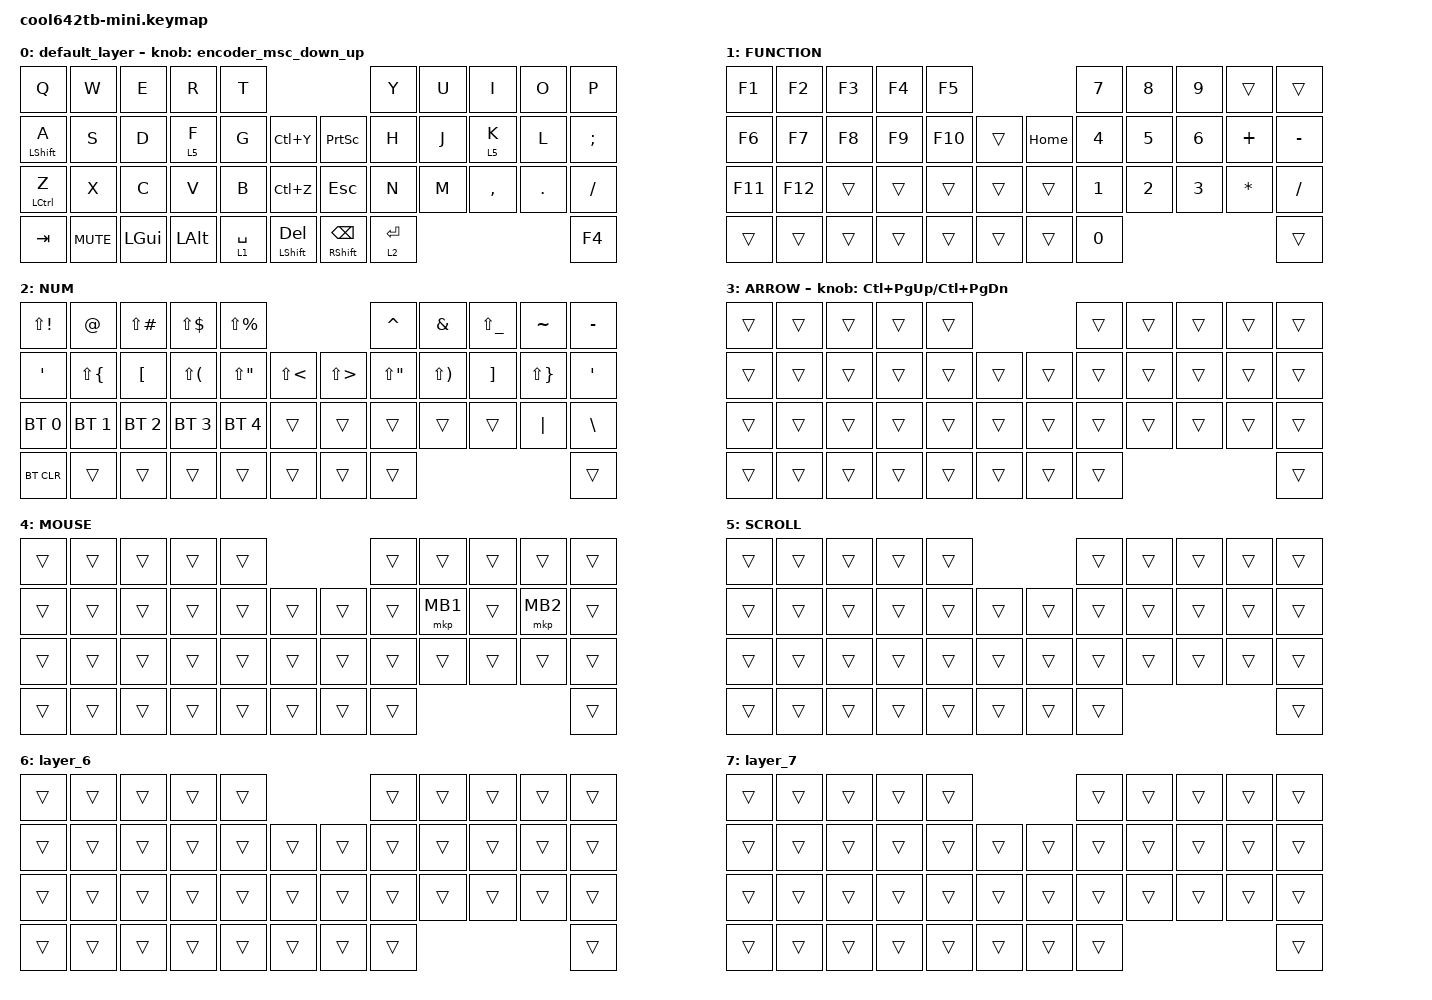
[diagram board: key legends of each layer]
#include <behaviors.dtsi>
#include <dt-bindings/zmk/bt.h>
#include <dt-bindings/zmk/keys.h>
#include <dt-bindings/zmk/pointing.h>

#define MOUSE 4
#define SCROLL 5
#define NUM 6
#define ZMK_POINTING_DEFAULT_SCRL_VAL 80

&mt {
    flavor = "balanced";
    quick-tap-ms = <0>;
};

/ {
    combos {
        compatible = "zmk,combos";

        shift_tab {
            bindings = <&kp LANG2>;
            key-positions = <12 13>;
        };

        lang {
            bindings = <&kp LANG1>;
            key-positions = <18 19>;
        };
    };

    behaviors {
        encoder_msc_down_up: encoder_msc_down_up {
            compatible = "zmk,behavior-sensor-rotate";
            label = "ENCODER_MSC_DOWN_UP";
            #sensor-binding-cells = <0>;
            bindings = <&msc SCRL_UP>, <&msc SCRL_DOWN>;

            tap-ms = <20>;
        };
    };

    keymap {
        compatible = "zmk,keymap";

        default_layer {
            bindings = <
&kp Q               &kp W       &kp E         &kp R         &kp T                                                    &kp Y        &kp U  &kp I      &kp O    &kp P
&mt LEFT_SHIFT A    &kp S       &kp D         &lt 5 F       &kp G        &kp LC(Y)              &kp PRINTSCREEN      &kp H        &kp J  &lt 5 K    &kp L    &kp SEMICOLON
&mt LEFT_CONTROL Z  &kp X       &kp C         &kp V         &kp B        &kp LC(Z)              &kp ESC              &kp N        &kp M  &kp COMMA  &kp DOT  &kp SLASH
&kp TAB             &kp C_MUTE  &kp LEFT_GUI  &kp LEFT_ALT  &lt 1 SPACE  &mt LSHIFT DELETE      &mt RSHFT BACKSPACE  &lt 2 ENTER                             &kp F4
            >;

            sensor-bindings = <&encoder_msc_down_up>;
        };

        FUNCTION {
            bindings = <
&kp F1   &kp F2   &kp F3  &kp F4  &kp F5                         &kp N7  &kp N8  &kp N9  &trans        &trans
&kp F6   &kp F7   &kp F8  &kp F9  &kp F10  &trans      &kp HOME  &kp N4  &kp N5  &kp N6  &kp PLUS      &kp MINUS
&kp F11  &kp F12  &trans  &trans  &trans   &trans      &trans    &kp N1  &kp N2  &kp N3  &kp ASTERISK  &kp SLASH
&trans   &trans   &trans  &trans  &trans   &trans      &trans    &kp N0                                &trans
            >;
        };

        NUM {
            bindings = <
&kp LS(EXCL)  &kp AT        &kp LS(POUND)  &kp LS(DLLR)  &kp LS(PRCNT)                              &kp CARET    &kp AMPERSAND  &kp LS(UNDER)  &kp TILDE     &kp MINUS
&kp SQT       &kp LS(LBRC)  &kp LBKT       &kp LS(LPAR)  &kp LS(DQT)    &kp LS(LT)      &kp LS(GT)  &kp LS(DQT)  &kp LS(RPAR)   &kp RBKT       &kp LS(RBRC)  &kp SQT
&bt BT_SEL 0  &bt BT_SEL 1  &bt BT_SEL 2   &bt BT_SEL 3  &bt BT_SEL 4   &trans          &trans      &trans       &trans         &trans         &kp PIPE      &kp BACKSLASH
&bt BT_CLR    &trans        &trans         &trans        &trans         &trans          &trans      &trans                                                   &trans
            >;
        };

        ARROW {
            bindings = <
&trans  &trans  &trans  &trans  &trans                      &trans  &trans  &trans  &trans  &trans
&trans  &trans  &trans  &trans  &trans  &trans      &trans  &trans  &trans  &trans  &trans  &trans
&trans  &trans  &trans  &trans  &trans  &trans      &trans  &trans  &trans  &trans  &trans  &trans
&trans  &trans  &trans  &trans  &trans  &trans      &trans  &trans                          &trans
            >;

            sensor-bindings = <&inc_dec_kp LC(PAGE_UP) LC(PAGE_DOWN)>;
        };

        MOUSE {
            bindings = <
&trans  &trans  &trans  &trans  &trans                      &trans  &trans    &trans  &trans    &trans
&trans  &trans  &trans  &trans  &trans  &trans      &trans  &trans  &mkp MB1  &trans  &mkp MB2  &trans
&trans  &trans  &trans  &trans  &trans  &trans      &trans  &trans  &trans    &trans  &trans    &trans
&trans  &trans  &trans  &trans  &trans  &trans      &trans  &trans                              &trans
            >;
        };

        SCROLL {
            bindings = <
&trans  &trans  &trans  &trans  &trans                      &trans  &trans  &trans  &trans  &trans
&trans  &trans  &trans  &trans  &trans  &trans      &trans  &trans  &trans  &trans  &trans  &trans
&trans  &trans  &trans  &trans  &trans  &trans      &trans  &trans  &trans  &trans  &trans  &trans
&trans  &trans  &trans  &trans  &trans  &trans      &trans  &trans                          &trans
            >;
        };

        layer_6 {
            bindings = <
&trans  &trans  &trans  &trans  &trans                      &trans  &trans  &trans  &trans  &trans
&trans  &trans  &trans  &trans  &trans  &trans      &trans  &trans  &trans  &trans  &trans  &trans
&trans  &trans  &trans  &trans  &trans  &trans      &trans  &trans  &trans  &trans  &trans  &trans
&trans  &trans  &trans  &trans  &trans  &trans      &trans  &trans                          &trans
            >;
        };

        layer_7 {
            bindings = <
&trans  &trans  &trans  &trans  &trans                      &trans  &trans  &trans  &trans  &trans
&trans  &trans  &trans  &trans  &trans  &trans      &trans  &trans  &trans  &trans  &trans  &trans
&trans  &trans  &trans  &trans  &trans  &trans      &trans  &trans  &trans  &trans  &trans  &trans
&trans  &trans  &trans  &trans  &trans  &trans      &trans  &trans                          &trans
            >;
        };
    };
};
